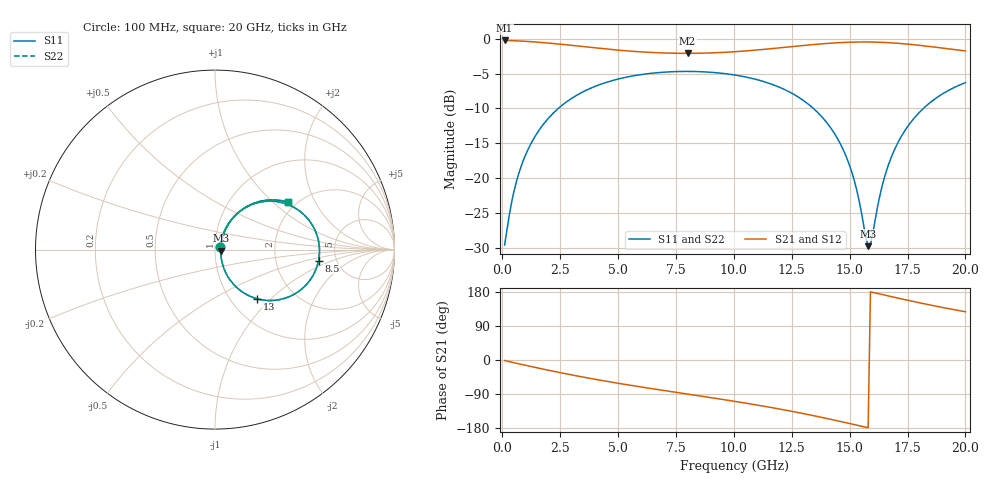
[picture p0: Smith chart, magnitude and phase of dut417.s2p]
! Touchstone file exported from HFSS 2026.1.0
!  File:  C:/ffzhzh/LocalFiles/Ansys_Project_Files/temp_train_TSV_RDL_417_1783095446_46604.aedt
!  Generated:  12:26:52 AM Jul  4, 2026
!  Design:  TSV_RDL
!  Project:  temp_train_TSV_RDL_417_1783095446_46604
! Variables:
!  h_bsmrdl = 2.9um
!  h_ox = 20um
!  h_rdl = 5um
!  h_sub = 88.71um
!  h_tmrdl = 4.88um
!  h_tsv = 88.71um
!  h_via = 3um
!  l_bsmrdl = 837.94um
!  l_sub = 3443.08um
!  l_tmrdl = 113.76um
!  m_sub = 200um
!  pitch = 44.56um
!  r_tsv = 11.99um
!  s_tmrdl = 10um
!  w_bsmrdl = 11.38um
!  w_sub = 500um
!  w_tmrdl = 13.36um
!  x_tsv_center1 = 120.44um
!  x_tsv_center2 = 969.76um
!  x_tsv_center3 = 1096.88um
!  x_tsv_center4 = 1946.2um
!  x_tsv_center5 = 2073.32um
!  x_tsv_center6 = 2922.64um
# GHz S MA R 50.000000
! Terminal data exported
! Port[1] = TM_RDL1_1_T1
! Port[2] = TM_RDL5_1_T1
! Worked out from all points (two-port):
!   200 points, 100 MHz to 20 GHz, reference 50 ohm
!   highest |S21| = -0.26 dB at 100 MHz (marker M1); lowest = -2.1 dB at 8 GHz (marker M2)
!   |S21| within 3 dB of the highest: start of sweep to end of sweep
!   lowest |S11| = -29.7 dB at 15.8 GHz (marker M3), VSWR 1.07, Z = 53.3 - j0.604 ohm
!   |S11| at or under -10 dB: start of sweep to 2.42 GHz; 13.44 GHz to 18.18 GHz (4.749 GHz wide, 30 % of centre)
!   |S22| runs from -29.8 to -4.7 dB; largest |S21 - S12| = 1.6e-14
!   S11 on the Smith chart (normalised r, x): 100 MHz: 1.06, +0.03; 8.5 GHz: 3.63, -0.67; 13 GHz: 1.32, -0.83; 20 GHz: 1.80, +1.25
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0.1  0.03326 25.6  0.9703 -1.4  0.9703 -1.4  0.03326 25.6
! Gamma 0 0 0 0
! Port Impedance 50 0 50 0
0.6  0.09337 61.6  0.9642 -8.5  0.9642 -8.5  0.09337 61.6
1.2  0.1722 62.2  0.9519 -16.6  0.9519 -16.6  0.1722 62.2
2.2  0.2925 53.8  0.9228 -29.6  0.9228 -29.6  0.2925 53.8
3.5  0.4171 40.3  0.8764 -45.2  0.8764 -45.2  0.4171 40.3
6.8  0.5721 8.9  0.7911 -78.8  0.7911 -78.8  0.5721 8.9
8  0.5823 -1.7  0.7844 -89.9  0.7844 -89.9  0.5823 -1.7
8.5  0.5801 -6.1  0.7859 -94.5  0.7859 -94.5  0.5802 -6.1
10.1  0.5469 -20.5  0.8071 -109.7  0.8071 -109.7  0.5469 -20.5
11.7  0.4673 -35.9  0.8498 -126.3  0.8498 -126.3  0.4673 -36.0
13  0.361 -49.4  0.893 -141.4  0.893 -141.4  0.361 -49.4
13.4  0.3201 -53.6  0.9058 -146.4  0.9058 -146.4  0.3201 -53.6
14.3  0.2149 -62.1  0.9305 -158.1  0.9305 -158.1  0.2149 -62.1
14.9  0.1367 -65.0  0.9414 -166.3  0.9414 -166.3  0.1367 -65.1
15.3  0.0834 -61.3  0.9453 -171.8  0.9453 -171.8  0.08333 -61.5
15.8  0.03264 -10.0  0.946 -178.8  0.946 -178.8  0.03237 -10.1
15.9  0.03352 13.8  0.9456 179.8  0.9456 179.8  0.03324 13.9
16.3  0.07429 56.7  0.9418 174.2  0.9418 174.2  0.07413 56.8
16.7  0.1279 62.4  0.935 168.6  0.935 168.6  0.1278 62.5
17.3  0.2081 60.1  0.9198 160.4  0.9198 160.4  0.208 60.2
18  0.295 53.8  0.8961 151.2  0.8961 151.2  0.2949 53.8
20  0.4837 33.2  0.8158 127.3  0.8158 127.3  0.4837 33.3
